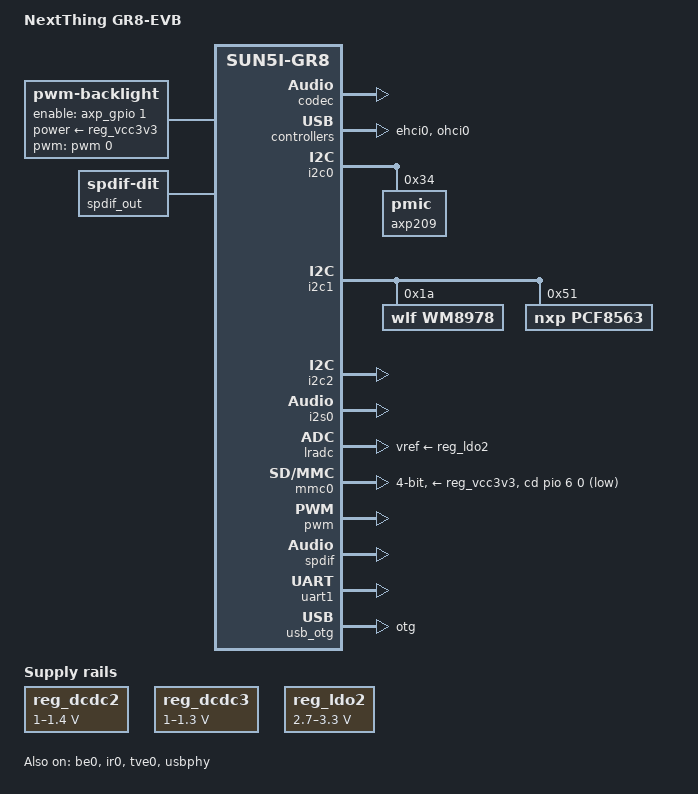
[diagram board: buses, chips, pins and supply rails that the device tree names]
/*
 * Copyright 2016 Free Electrons
 * Copyright 2016 NextThing Co
 *
 * Mylène Josserand <mylene.josserand@free-electrons.com>
 *
 * This file is dual-licensed: you can use it either under the terms
 * of the GPL or the X11 license, at your option. Note that this dual
 * licensing only applies to this file, and not this project as a
 * whole.
 *
 *  a) This file is free software; you can redistribute it and/or
 *     modify it under the terms of the GNU General Public License as
 *     published by the Free Software Foundation; either version 2 of the
 *     License, or (at your option) any later version.
 *
 *     This file is distributed in the hope that it will be useful,
 *     but WITHOUT ANY WARRANTY; without even the implied warranty of
 *     MERCHANTABILITY or FITNESS FOR A PARTICULAR PURPOSE.  See the
 *     GNU General Public License for more details.
 *
 * Or, alternatively,
 *
 *  b) Permission is hereby granted, free of charge, to any person
 *     obtaining a copy of this software and associated documentation
 *     files (the "Software"), to deal in the Software without
 *     restriction, including without limitation the rights to use,
 *     copy, modify, merge, publish, distribute, sublicense, and/or
 *     sell copies of the Software, and to permit persons to whom the
 *     Software is furnished to do so, subject to the following
 *     conditions:
 *
 *     The above copyright notice and this permission notice shall be
 *     included in all copies or substantial portions of the Software.
 *
 *     THE SOFTWARE IS PROVIDED "AS IS", WITHOUT WARRANTY OF ANY KIND,
 *     EXPRESS OR IMPLIED, INCLUDING BUT NOT LIMITED TO THE WARRANTIES
 *     OF MERCHANTABILITY, FITNESS FOR A PARTICULAR PURPOSE AND
 *     NONINFRINGEMENT. IN NO EVENT SHALL THE AUTHORS OR COPYRIGHT
 *     HOLDERS BE LIABLE FOR ANY CLAIM, DAMAGES OR OTHER LIABILITY,
 *     WHETHER IN AN ACTION OF CONTRACT, TORT OR OTHERWISE, ARISING
 *     FROM, OUT OF OR IN CONNECTION WITH THE SOFTWARE OR THE USE OR
 *     OTHER DEALINGS IN THE SOFTWARE.
 */

/dts-v1/;
#include "sun5i-gr8.dtsi"
#include "sunxi-common-regulators.dtsi"

#include <dt-bindings/gpio/gpio.h>
#include <dt-bindings/input/input.h>
#include <dt-bindings/interrupt-controller/irq.h>

/ {
	model = "NextThing GR8-EVB";
	compatible = "nextthing,gr8-evb", "nextthing,gr8";

	aliases {
		i2c0 = &i2c0;
		i2c1 = &i2c1;
		i2c2 = &i2c2;
		serial0 = &uart1;
		serial1 = &uart2;
	};

	chosen {
		stdout-path = "serial0:115200n8";
	};

	backlight: backlight {
		compatible = "pwm-backlight";
		pwms = <&pwm 0 10000 0>;
		enable-gpios = <&axp_gpio 1 GPIO_ACTIVE_HIGH>;
		power-supply = <&reg_vcc3v3>;
		brightness-levels = <0 10 20 30 40 50 60 70 80 90 100>;
		default-brightness-level = <8>;
	};

	sound-analog {
		compatible = "simple-audio-card";
		simple-audio-card,name = "gr8-evb-wm8978";
		simple-audio-card,format = "i2s";
		simple-audio-card,mclk-fs = <512>;

		simple-audio-card,cpu {
			sound-dai = <&i2s0>;
		};

		simple-audio-card,codec {
			sound-dai = <&wm8978>;
		};
	};

	sound-spdif {
		compatible = "simple-audio-card";
		simple-audio-card,name = "On-board SPDIF";

		simple-audio-card,cpu {
			sound-dai = <&spdif>;
		};

		simple-audio-card,codec {
			sound-dai = <&spdif_out>;
		};
	};

	spdif_out: spdif-out {
		#sound-dai-cells = <0>;
		compatible = "linux,spdif-dit";
	};
};

&be0 {
	status = "okay";
};

&codec {
	status = "okay";
};

&ehci0 {
	status = "okay";
};

&i2c0 {
	status = "okay";

	axp209: pmic@34 {
		reg = <0x34>;

		/*
		* The interrupt is routed through the "External Fast
		* Interrupt Request" pin (ball G13 of the module)
		* directly to the main interrupt controller, without
		* any other controller interfering.
		*/
		interrupts = <0>;
	};
};

#include "axp209.dtsi"

&i2c1 {
	status = "okay";

	wm8978: codec@1a {
		#sound-dai-cells = <0>;
		compatible = "wlf,wm8978";
		reg = <0x1a>;
	};

	pcf8563: rtc@51 {
		compatible = "nxp,pcf8563";
		reg = <0x51>;
	};
};

&i2c2 {
	status = "okay";
};

&i2s0 {
	pinctrl-names = "default";
	pinctrl-0 = <&i2s0_mclk_pin>, <&i2s0_data_pins>;
	status = "okay";
};

&ir0 {
	pinctrl-names = "default";
	pinctrl-0 = <&ir0_rx_pin>;
	status = "okay";
};

&lradc {
	vref-supply = <&reg_ldo2>;
	status = "okay";

	button-190 {
		label = "Volume Up";
		linux,code = <KEY_VOLUMEUP>;
		channel = <0>;
		voltage = <190000>;
	};

	button-390 {
		label = "Volume Down";
		linux,code = <KEY_VOLUMEDOWN>;
		channel = <0>;
		voltage = <390000>;
	};

	button-600 {
		label = "Menu";
		linux,code = <KEY_MENU>;
		channel = <0>;
		voltage = <600000>;
	};

	button-800 {
		label = "Search";
		linux,code = <KEY_SEARCH>;
		channel = <0>;
		voltage = <800000>;
	};

	button-980 {
		label = "Home";
		linux,code = <KEY_HOMEPAGE>;
		channel = <0>;
		voltage = <980000>;
	};

	button-1180 {
		label = "Esc";
		linux,code = <KEY_ESC>;
		channel = <0>;
		voltage = <1180000>;
	};

	button-1400 {
		label = "Enter";
		linux,code = <KEY_ENTER>;
		channel = <0>;
		voltage = <1400000>;
	};
};

&mmc0 {
	vmmc-supply = <&reg_vcc3v3>;
	bus-width = <4>;
	cd-gpios = <&pio 6 0 GPIO_ACTIVE_LOW>; /* PG0 */
	status = "okay";
};

&nfc {
	pinctrl-names = "default";
	pinctrl-0 = <&nand_pins &nand_cs0_pin &nand_rb0_pin>;

	/* MLC Support sucks for now */
	status = "disabled";
};

&ohci0 {
	status = "okay";
};

&otg_sram {
	status = "okay";
};

&pwm {
	pinctrl-names = "default";
	pinctrl-0 = <&pwm0_pin>;
	status = "okay";
};

&reg_dcdc2 {
	regulator-min-microvolt = <1000000>;
	regulator-max-microvolt = <1400000>;
	regulator-name = "vdd-cpu";
	regulator-always-on;
};

&reg_dcdc3 {
	regulator-min-microvolt = <1000000>;
	regulator-max-microvolt = <1300000>;
	regulator-name = "vdd-sys";
	regulator-always-on;
};

&reg_ldo1 {
	regulator-name = "vdd-rtc";
};

&reg_ldo2 {
	regulator-min-microvolt = <2700000>;
	regulator-max-microvolt = <3300000>;
	regulator-name = "avcc";
	regulator-always-on;
};

&reg_usb1_vbus {
	gpio = <&pio 6 13 GPIO_ACTIVE_HIGH>;
	status = "okay";
};

&rtp {
	allwinner,ts-attached;
};

&spdif {
	pinctrl-names = "default";
	pinctrl-0 = <&spdif_tx_pin>;
	status = "okay";
};

&tve0 {
	status = "okay";
};

&uart1 {
	pinctrl-names = "default";
	pinctrl-0 = <&uart1_pg_pins>, <&uart1_cts_rts_pins>;
	status = "okay";
};

&usb_otg {
	/*
	 * The GR8-EVB has a somewhat interesting design. There's a
	 * pin supposed to control VBUS, an ID pin, a VBUS detect pin,
	 * so everything should work just fine.
	 *
	 * Except that the pin supposed to control VBUS is not
	 * connected to any controllable output, neither to the SoC
	 * through a GPIO or to the PMIC, and it is pulled down,
	 * meaning that we will never be able to enable VBUS on this
	 * board.
	 */
	dr_mode = "otg";
	status = "okay";
};

&usb_power_supply {
	status = "okay";
};

&usbphy {
	usb0_id_det-gpios = <&pio 6 2 GPIO_ACTIVE_HIGH>; /* PG2 */
	usb0_vbus_det-gpios = <&pio 6 1 GPIO_ACTIVE_HIGH>; /* PG1 */
	usb0_vbus_power-supply = <&usb_power_supply>;
	usb1_vbus-supply = <&reg_usb1_vbus>;
	status = "okay";
};
